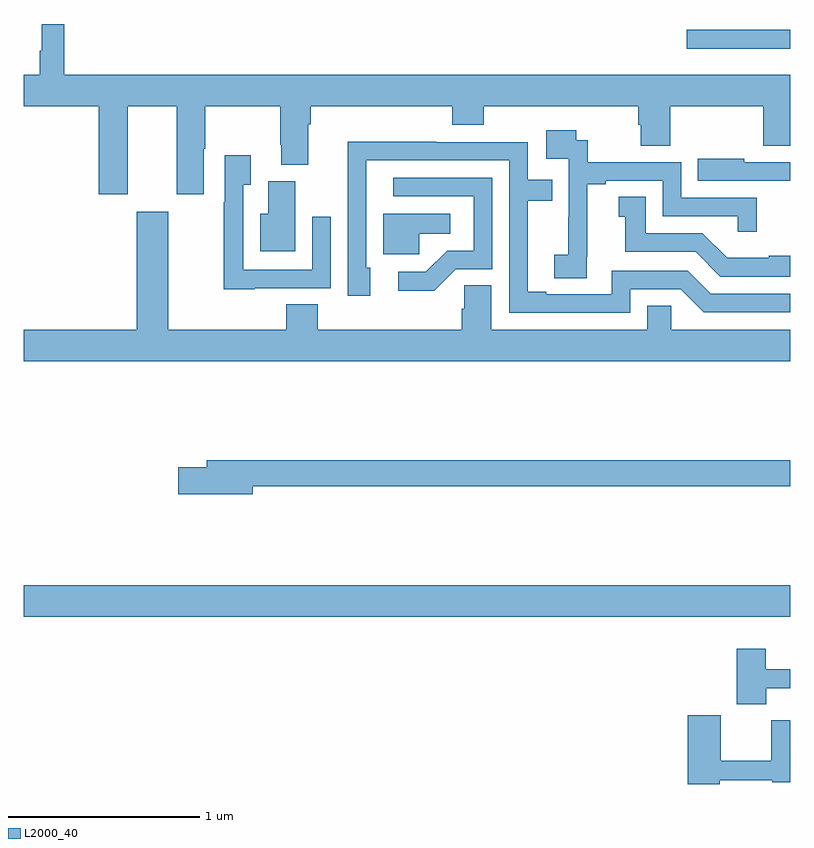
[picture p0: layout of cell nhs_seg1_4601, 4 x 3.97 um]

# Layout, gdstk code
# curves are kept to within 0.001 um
import gdstk
lib = gdstk.Library(unit=1e-6, precision=1e-09)
def R(c, l, rs):  # rectangles x0, y0, x1, y1
    for r in rs: c.add(gdstk.rectangle(r[:2], r[2:], *l))
def P(c, l, *ps):  # polygons
    for p in ps: c.add(gdstk.Polygon(p, *l))
L2000_40 = (2000, 40)

nhs_seg1_4601 = lib.new_cell('nhs_seg1_4601')
R(nhs_seg1_4601, L2000_40, [(361,525.092,365,525.256), (364.461,528.056,365,528.153)])
P(nhs_seg1_4601, L2000_40, [(361.543,527.756),(361.799,527.756),(361.799,527.295),(361.939,527.295),(361.939,527.534),(361.947,527.534),(361.947,527.756),(362.338,527.756),(362.338,527.554),(362.345,527.554),(362.345,527.449),(362.485,527.449),(362.485,527.66),(362.498,527.66),(362.498,527.756),(363.236,527.756),(363.236,527.657),(363.401,527.657),(363.401,527.756),(364.208,527.756),(364.208,527.658),(364.22,527.658),(364.22,527.548),(364.373,527.548),(364.373,527.756),(364.859,527.756),(364.859,527.548),(365,527.548),(365,527.92),(361.211,527.92),(361.211,528.184),(361.094,528.184),(361.094,528.044),(361.083,528.044),(361.083,527.92),(361,527.92),(361,527.756),(361.391,527.756),(361.391,527.295),(361.543,527.295)],
  [(363.938,526.969),(363.94,526.969),(363.94,527.347),(364.036,527.347),(364.036,527.367),(364.335,527.367),(364.335,527.181),(364.725,527.181),(364.725,527.1),(364.826,527.1),(364.826,527.277),(364.431,527.277),(364.431,527.463),(363.944,527.463),(363.944,527.577),(363.882,527.577),(363.882,527.629),(363.726,527.629),(363.726,527.481),(363.843,527.481),(363.843,527.177),(363.842,527.177),(363.842,526.98),(363.768,526.98),(363.768,526.858),(363.938,526.858)],
  [(364.164,526.8),(364.428,526.8),(364.548,526.68),(365,526.68),(365,526.776),(364.584,526.776),(364.464,526.896),(364.068,526.896),(364.068,526.773),(363.727,526.773),(363.727,526.788),(363.631,526.788),(363.631,527.262),(363.758,527.262),(363.758,527.37),(363.63,527.37),(363.63,527.568),(363.152,527.568),(363.152,527.57),(362.69,527.57),(362.691,526.767),(362.809,526.767),(362.809,526.911),(362.787,526.911),(362.787,527.472),(363.534,527.472),(363.534,526.677),(364.164,526.677)],
  [(362.205,526.806),(362.601,526.806),(362.601,527.179),(362.505,527.179),(362.505,526.902),(362.145,526.902),(362.145,527.344),(362.185,527.344),(362.185,527.5),(362.049,527.5),(362.049,527.255),(362.044,527.255),(362.044,526.799),(362.205,526.799)],
  [(365,527.463),(364.759,527.463),(364.759,527.482),(364.516,527.482),(364.516,527.367),(365,527.367)],
  [(363.255,526.905),(363.444,526.905),(363.444,527.382),(362.928,527.382),(362.928,527.286),(363.348,527.286),(363.348,527.001),(363.21,527.001),(363.099,526.89),(362.955,526.89),(362.955,526.793),(363.142,526.793)],
  [(362.416,527.364),(362.276,527.364),(362.276,527.194),(362.234,527.194),(362.234,526.997),(362.416,526.997)],
  [(365,526.975),(364.889,526.975),(364.889,526.963),(364.67,526.963),(364.542,527.091),(364.246,527.091),(364.246,527.282),(364.106,527.282),(364.106,527.179),(364.139,527.179),(364.139,526.995),(364.506,526.995),(364.635,526.866),(365,526.866)],
  [(365,526.588),(364.38,526.588),(364.38,526.715),(364.253,526.715),(364.253,526.588),(363.439,526.588),(363.439,526.82),(363.3,526.82),(363.3,526.697),(363.287,526.697),(363.287,526.588),(362.534,526.588),(362.534,526.721),(362.369,526.721),(362.369,526.588),(361.753,526.588),(361.753,527.203),(361.589,527.203),(361.589,526.588),(361,526.588),(361,526.424),(365,526.424)],
  [(363.063,527.09),(363.226,527.09),(363.226,527.194),(362.876,527.194),(362.876,526.983),(363.063,526.983)],
  [(362.194,525.772),(365,525.772),(365,525.908),(361.955,525.908),(361.955,525.872),(361.806,525.872),(361.806,525.73),(362.194,525.73)],
  [(364.876,524.718),(365,524.718),(365,524.817),(364.873,524.817),(364.873,524.923),(364.721,524.923),(364.721,524.633),(364.876,524.633)],
  [(364.632,524.238),(364.907,524.238),(364.907,524.226),(365,524.226),(365,524.551),(364.9,524.551),(364.9,524.339),(364.636,524.339),(364.636,524.578),(364.466,524.578),(364.466,524.218),(364.632,524.218)])

lib.write_gds('nhs_seg1_4601.gds')
